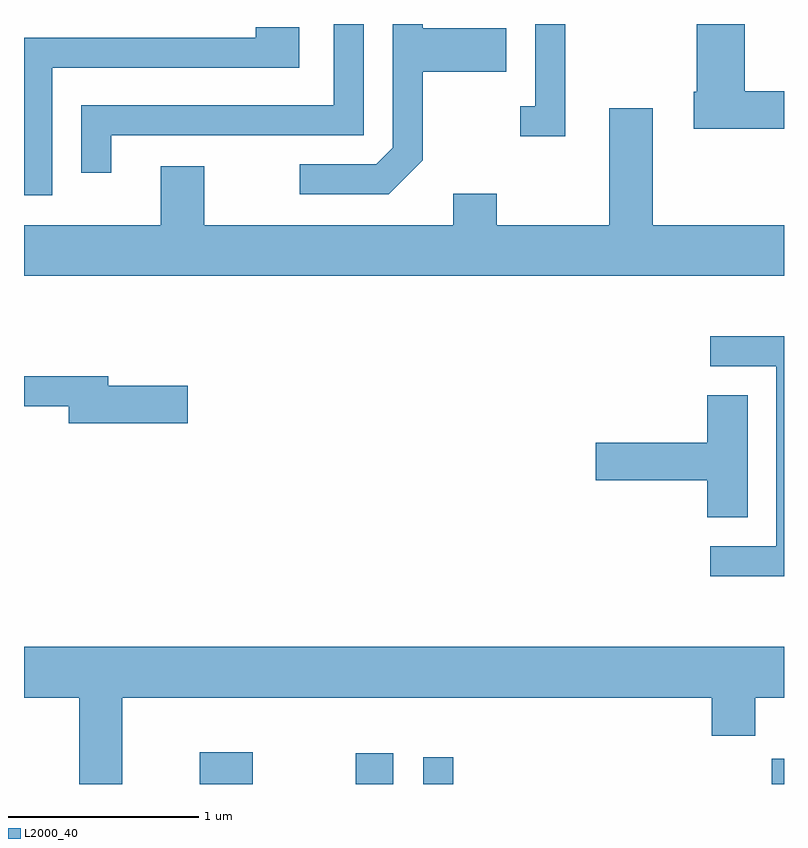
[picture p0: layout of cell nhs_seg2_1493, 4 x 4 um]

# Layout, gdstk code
import gdstk
lib = gdstk.Library(unit=1e-6, precision=1e-09)
def R(c, l, rs):  # rectangles x0, y0, x1, y1
    for r in rs: c.add(gdstk.rectangle(r[:2], r[2:], *l))
def P(c, l, *ps):  # polygons
    for p in ps: c.add(gdstk.Polygon(p, *l))
L2000_40 = (2000, 40)

nhs_seg2_1493 = lib.new_cell('nhs_seg2_1493')
R(nhs_seg2_1493, L2000_40, [(228.536,1107.802,228.814,1107.969), (229.356,1107.802,229.554,1107.964), (229.711,1107.802,229.869,1107.943), (231.546,1107.802,231.611,1107.934)])
P(nhs_seg2_1493, L2000_40, [(228.069,1111.216),(229.399,1111.216),(229.399,1111.802),(229.241,1111.802),(229.241,1111.374),(227.911,1111.374),(227.911,1111.018),(228.069,1111.018)],
  [(231.611,1111.449),(231.404,1111.449),(231.404,1111.802),(231.151,1111.802),(231.151,1111.445),(231.136,1111.445),(231.136,1111.251),(231.611,1111.251)],
  [(230.459,1111.802),(230.301,1111.802),(230.301,1111.369),(230.223,1111.369),(230.223,1111.211),(230.459,1111.211)],
  [(229.709,1111.084),(229.709,1111.551),(230.149,1111.551),(230.149,1111.779),(229.709,1111.779),(229.709,1111.802),(229.551,1111.802),(229.551,1111.152),(229.464,1111.064),(229.063,1111.064),(229.063,1110.906),(229.532,1110.906)],
  [(227.759,1111.571),(229.059,1111.571),(229.059,1111.784),(228.831,1111.784),(228.831,1111.729),(227.611,1111.729),(227.611,1110.901),(227.759,1110.901)],
  [(231.611,1110.744),(230.919,1110.744),(230.919,1111.359),(230.691,1111.359),(230.691,1110.744),(230.099,1110.744),(230.099,1110.909),(229.871,1110.909),(229.871,1110.744),(228.559,1110.744),(228.559,1111.054),(228.331,1111.054),(228.331,1110.744),(227.611,1110.744),(227.611,1110.476),(231.611,1110.476)],
  [(231.611,1110.159),(231.223,1110.159),(231.223,1110.001),(231.571,1110.001),(231.571,1109.054),(231.223,1109.054),(231.223,1108.896),(231.611,1108.896)],
  [(228.474,1109.899),(228.054,1109.899),(228.054,1109.949),(227.611,1109.949),(227.611,1109.791),(227.846,1109.791),(227.846,1109.701),(228.474,1109.701)],
  [(231.419,1109.849),(231.206,1109.849),(231.206,1109.599),(230.621,1109.599),(230.621,1109.401),(231.206,1109.401),(231.206,1109.206),(231.419,1109.206)],
  [(228.129,1108.256),(231.231,1108.256),(231.231,1108.056),(231.459,1108.056),(231.459,1108.256),(231.611,1108.256),(231.611,1108.524),(227.611,1108.524),(227.611,1108.256),(227.901,1108.256),(227.901,1107.802),(228.129,1107.802)])

lib.write_gds('nhs_seg2_1493.gds')
